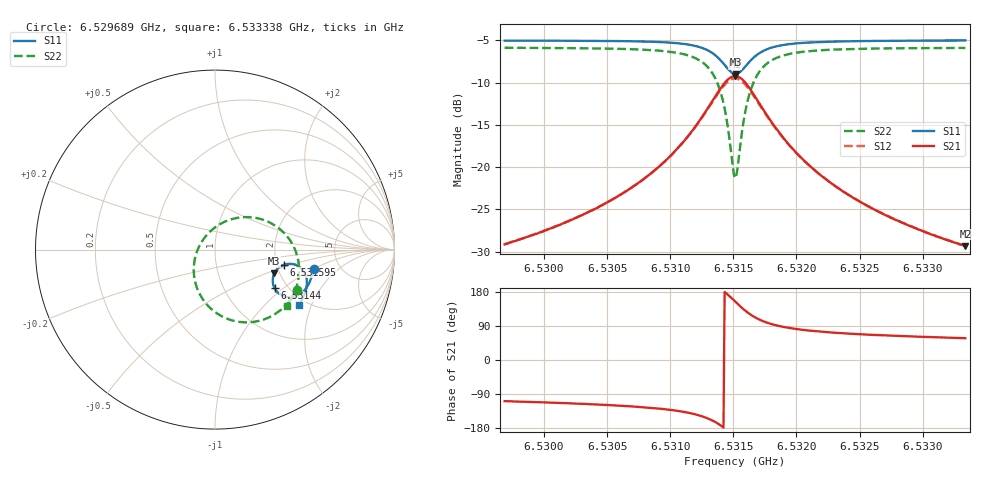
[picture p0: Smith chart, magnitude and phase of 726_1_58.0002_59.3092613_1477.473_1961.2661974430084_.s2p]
#  HZ  S  RI  R  50.00
! Rohde & Schwarz Vector Network Analyzer
! Rohde-Schwarz,ZNB20-2Port,1311601062101988,3.16
! Created: UTC 3/21/2024, 1:22:52 AM
! freq[Hz]  re:S11  im:S11  re:S21  im:S21  re:S12  im:S12  re:S22  im:S22
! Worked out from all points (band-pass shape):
!   401 points, 6.529689 GHz to 6.533338 GHz, reference 50 ohm
!   highest |S21| = -9.23 dB at 6.531513 GHz (marker M1); lowest = -29.3 dB at 6.533338 GHz (marker M2)
!   |S21| within 3 dB of the highest: 6.531332 GHz to 6.531696 GHz (364.4 kHz wide, 0.00558 % of centre)
!   lowest |S11| = -9.0 dB at 6.531522 GHz (marker M3), VSWR 2.11, Z = 93.8 - j28.3 ohm
!   |S11| at or under -10 dB: nowhere
!   |S22| runs from -21.3 to -5.9 dB; largest |S21 - S12| = 0.015
!   S11 on the Smith chart (normalised r, x): 6.529689 GHz: 3.21, -0.99; 6.53144 GHz: 1.71, -0.87; 6.531595 GHz: 2.19, -0.43; 6.533338 GHz: 1.81, -1.64
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6.5296889e9  0.5501 -0.1059  -0.0111 -0.0331  -0.0119 -0.033  0.4562 -0.2242
6.5303001e9  0.5361 -0.1579  -0.0223 -0.0468  -0.0237 -0.0462  0.4189 -0.2821
6.5306467e9  0.5221 -0.1913  -0.0374 -0.0612  -0.039 -0.0601  0.3805 -0.3243
6.5309113e9  0.5029 -0.2217  -0.0622 -0.0789  -0.0646 -0.077  0.3248 -0.3652
6.5311302e9  0.47 -0.2509  -0.111 -0.0989  -0.1141 -0.0947  0.2275 -0.4009
6.5312853e9  0.4184 -0.2662  -0.1913 -0.0996  -0.193 -0.091  0.0827 -0.3905
6.5313765e9  0.3674 -0.2527  -0.2696 -0.0596  -0.2665 -0.0479  -0.044 -0.3076
6.531413e9  0.3454 -0.2345  -0.3014 -0.0222  -0.295 -0.0105  -0.0899 -0.2383
6.5314404e9  0.3316 -0.2143  -0.3201 0.0165  -0.3106 0.0272  -0.1125 -0.1706
6.5314951e9  0.3223 -0.16  -0.3244 0.1138  -0.3108 0.1189  -0.1004 -0.0103
6.5315133e9  0.3269 -0.141  -0.3127 0.147  -0.2991 0.1497  -0.0754 0.0413
6.5315225e9  0.3307 -0.1317  -0.3046 0.1627  -0.2909 0.1641  -0.0591 0.0652
6.531559e9  0.3542 -0.1012  -0.259 0.2137  -0.2474 0.2112  0.0245 0.14
6.5315954e9  0.3852 -0.0837  -0.2031 0.242  -0.1945 0.2375  0.1213 0.1763
6.5316319e9  0.416 -0.0789  -0.1492 0.2494  -0.1436 0.2444  0.2115 0.179
6.5316684e9  0.442 -0.083  -0.1042 0.2426  -0.1007 0.2384  0.2857 0.1595
6.5317779e9  0.4888 -0.1144  -0.0251 0.195  -0.0236 0.193  0.4116 0.0612
6.5319056e9  0.5076 -0.1503  0.00832 0.1456  0.00955 0.1447  0.4583 -0.0365
6.5321245e9  0.5119 -0.1933  0.0225 0.0961  0.0236 0.0958  0.4675 -0.1372
6.5323982e9  0.5056 -0.2291  0.0238 0.0653  0.0248 0.0649  0.4545 -0.2055
6.5327357e9  0.4936 -0.2622  0.0218 0.0458  0.0227 0.0454  0.4341 -0.2564
6.5333378e9  0.469 -0.3088  0.0183 0.0288  0.0188 0.0283  0.3985 -0.3138
